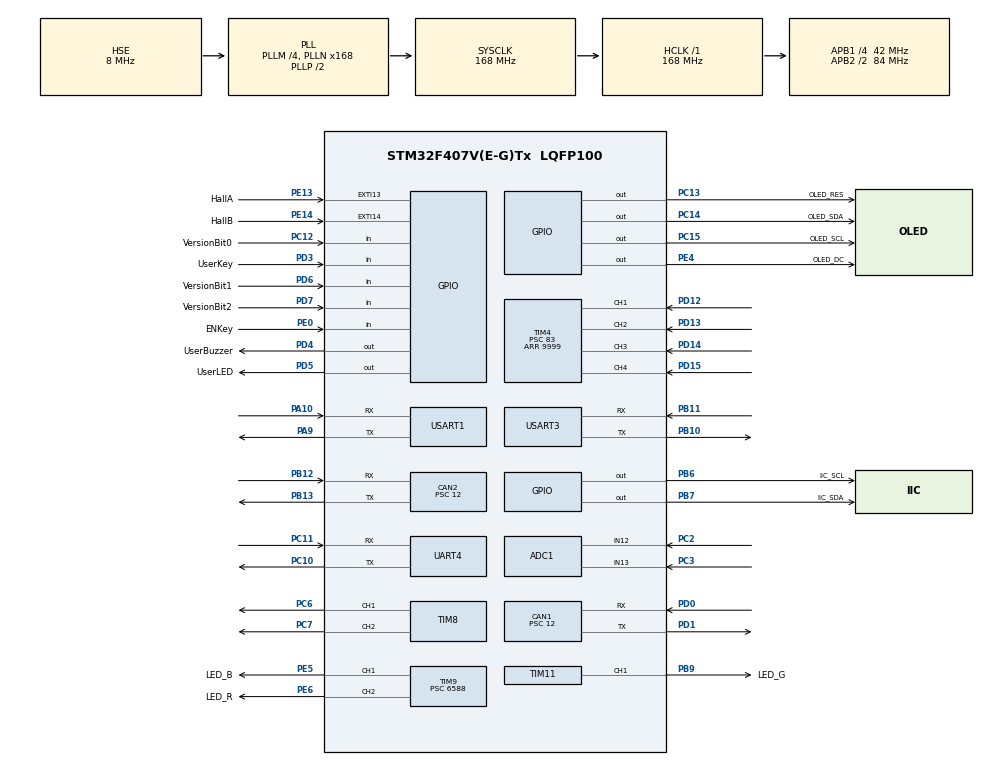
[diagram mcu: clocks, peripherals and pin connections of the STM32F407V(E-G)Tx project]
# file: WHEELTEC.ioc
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ADC1.Channel-0\#ChannelRegularConversion=ADC_CHANNEL_12
ADC1.Channel-1\#ChannelRegularConversion=ADC_CHANNEL_13
ADC1.ClockPrescaler=ADC_CLOCK_SYNC_PCLK_DIV6
ADC1.ContinuousConvMode=ENABLE
ADC1.DMAContinuousRequests=ENABLE
ADC1.NbrOfConversion=2
ADC1.NbrOfConversionFlag=1
ADC1.Rank-0\#ChannelRegularConversion=1
ADC1.Rank-1\#ChannelRegularConversion=2
ADC1.SamplingTime-0\#ChannelRegularConversion=ADC_SAMPLETIME_480CYCLES
ADC1.SamplingTime-1\#ChannelRegularConversion=ADC_SAMPLETIME_480CYCLES
ADC1.ScanConvMode=ENABLE
ADC1.master=1
CAN1.BS1=CAN_BS1_3TQ
CAN1.BS2=CAN_BS2_3TQ
CAN1.CalculateBaudRate=500000
CAN1.CalculateTimeBit=2000
CAN1.CalculateTimeQuantum=285.7142857142857
CAN1.Prescaler=12
CAN1.SJW=CAN_SJW_1TQ
CAN2.BS1=CAN_BS1_3TQ
CAN2.BS2=CAN_BS2_3TQ
CAN2.CalculateBaudRate=500000
CAN2.CalculateTimeBit=2000
CAN2.CalculateTimeQuantum=285.7142857142857
CAN2.Prescaler=12
Dma.ADC1.0.Direction=DMA_PERIPH_TO_MEMORY
Dma.ADC1.0.FIFOMode=DMA_FIFOMODE_DISABLE
Dma.ADC1.0.Instance=DMA2_Stream0
Dma.ADC1.0.MemDataAlignment=DMA_MDATAALIGN_HALFWORD
Dma.ADC1.0.MemInc=DMA_MINC_ENABLE
Dma.ADC1.0.Mode=DMA_CIRCULAR
Dma.ADC1.0.PeriphDataAlignment=DMA_PDATAALIGN_HALFWORD
Dma.ADC1.0.PeriphInc=DMA_PINC_DISABLE
Dma.ADC1.0.Priority=DMA_PRIORITY_LOW
Dma.Request0=ADC1
Dma.Request1=UART4_TX
Dma.Request2=USART1_TX
Dma.Request3=USART3_RX
Dma.UART4_TX.1.Direction=DMA_MEMORY_TO_PERIPH
Dma.UART4_TX.1.FIFOMode=DMA_FIFOMODE_DISABLE
Dma.UART4_TX.1.Instance=DMA1_Stream4
Dma.UART4_TX.1.MemDataAlignment=DMA_MDATAALIGN_BYTE
Dma.UART4_TX.1.MemInc=DMA_MINC_ENABLE
Dma.UART4_TX.1.Mode=DMA_NORMAL
Dma.UART4_TX.1.PeriphDataAlignment=DMA_PDATAALIGN_BYTE
Dma.UART4_TX.1.PeriphInc=DMA_PINC_DISABLE
Dma.UART4_TX.1.Priority=DMA_PRIORITY_LOW
Dma.USART1_TX.2.Direction=DMA_MEMORY_TO_PERIPH
Dma.USART1_TX.2.FIFOMode=DMA_FIFOMODE_DISABLE
Dma.USART1_TX.2.Instance=DMA2_Stream7
Dma.USART1_TX.2.MemDataAlignment=DMA_MDATAALIGN_BYTE
Dma.USART1_TX.2.MemInc=DMA_MINC_ENABLE
Dma.USART1_TX.2.Mode=DMA_NORMAL
Dma.USART1_TX.2.PeriphDataAlignment=DMA_PDATAALIGN_BYTE
Dma.USART1_TX.2.PeriphInc=DMA_PINC_DISABLE
Dma.USART1_TX.2.Priority=DMA_PRIORITY_LOW
Dma.USART3_RX.3.Direction=DMA_PERIPH_TO_MEMORY
Dma.USART3_RX.3.FIFOMode=DMA_FIFOMODE_DISABLE
Dma.USART3_RX.3.Instance=DMA1_Stream1
Dma.USART3_RX.3.MemDataAlignment=DMA_MDATAALIGN_BYTE
Dma.USART3_RX.3.MemInc=DMA_MINC_ENABLE
Dma.USART3_RX.3.Mode=DMA_NORMAL
Dma.USART3_RX.3.PeriphDataAlignment=DMA_PDATAALIGN_BYTE
Dma.USART3_RX.3.PeriphInc=DMA_PINC_DISABLE
Dma.USART3_RX.3.Priority=DMA_PRIORITY_LOW
FREERTOS.Tasks01=InitTask,32,128,StartInitTask,Default,NULL,Dynamic,NULL,NULL
FREERTOS.configCHECK_FOR_STACK_OVERFLOW=2
FREERTOS.configENABLE_FPU=1
FREERTOS.configGENERATE_RUN_TIME_STATS=1
FREERTOS.configTOTAL_HEAP_SIZE=51200
FREERTOS.configUSE_DAEMON_TASK_STARTUP_HOOK=0
FREERTOS.configUSE_IDLE_HOOK=1
FREERTOS.configUSE_MALLOC_FAILED_HOOK=1
FREERTOS.configUSE_STATS_FORMATTING_FUNCTIONS=1
Mcu.Family=STM32F4
Mcu.Name=STM32F407V(E-G)Tx
Mcu.Package=LQFP100
NVIC.CAN1_RX0_IRQn=true\:5\:0\:false\:false\:true\:true\:true\:true\:true
NVIC.CAN2_RX1_IRQn=true\:5\:0\:false\:false\:true\:true\:true\:true\:true
NVIC.DMA1_Stream1_IRQn=true\:5\:0\:false\:false\:true\:true\:false\:true\:true
NVIC.DMA1_Stream4_IRQn=true\:5\:0\:false\:false\:true\:true\:false\:true\:true
NVIC.DMA2_Stream0_IRQn=true\:5\:0\:false\:false\:true\:true\:false\:true\:true
NVIC.DMA2_Stream7_IRQn=true\:5\:0\:false\:false\:true\:true\:false\:true\:true
NVIC.EXTI15_10_IRQn=true\:5\:0\:false\:false\:true\:true\:true\:true\:true
NVIC.PriorityGroup=NVIC_PRIORITYGROUP_4
NVIC.TIM4_IRQn=true\:5\:0\:false\:false\:true\:true\:true\:true\:true
NVIC.TIM7_IRQn=true\:15\:0\:true\:false\:true\:false\:false\:true\:true
NVIC.TimeBase=TIM7_IRQn
NVIC.TimeBaseIP=TIM7
NVIC.UART4_IRQn=true\:5\:0\:false\:false\:true\:true\:true\:true\:true
NVIC.USART1_IRQn=true\:5\:0\:false\:false\:true\:true\:true\:true\:true
NVIC.USART3_IRQn=true\:5\:0\:false\:false\:true\:true\:true\:true\:true
PA10.Mode=Asynchronous
PA10.Signal=USART1_RX
PA13.Mode=Serial_Wire
PA13.Signal=SYS_JTMS-SWDIO
PA14.Mode=Serial_Wire
PA14.Signal=SYS_JTCK-SWCLK
PA9.Mode=Asynchronous
PA9.Signal=USART1_TX
PB10.Mode=Asynchronous
PB10.Signal=USART3_TX
PB11.Mode=Asynchronous
PB11.Signal=USART3_RX
PB12.Mode=CAN_Activate
PB12.Signal=CAN2_RX
PB13.Mode=CAN_Activate
PB13.Signal=CAN2_TX
PB6.GPIO_Label=IIC_SCL
PB6.GPIO_PuPd=GPIO_NOPULL
PB6.GPIO_Speed=GPIO_SPEED_FREQ_VERY_HIGH
PB6.PinState=GPIO_PIN_SET
PB6.Signal=GPIO_Output
PB7.GPIO_Label=IIC_SDA
PB7.GPIO_Speed=GPIO_SPEED_FREQ_VERY_HIGH
PB7.PinState=GPIO_PIN_SET
PB7.Signal=GPIO_Output
PB9.GPIO_Label=LED_G
PB9.Signal=S_TIM11_CH1
PC10.Mode=Asynchronous
PC10.Signal=UART4_TX
PC11.Mode=Asynchronous
PC11.Signal=UART4_RX
PC12.GPIO_Label=VersionBit0
PC12.GPIO_PuPd=GPIO_PULLUP
PC12.Signal=GPIO_Input
PC13-ANTI_TAMP.GPIO_Label=OLED_RES
PC13-ANTI_TAMP.Signal=GPIO_Output
PC14-OSC32_IN.GPIO_Label=OLED_SDA
PC14-OSC32_IN.Signal=GPIO_Output
PC15-OSC32_OUT.GPIO_Label=OLED_SCL
PC15-OSC32_OUT.Signal=GPIO_Output
PC2.Signal=ADCx_IN12
PC3.Signal=ADCx_IN13
PC6.Signal=S_TIM8_CH1
PC7.Signal=S_TIM8_CH2
PD0.Mode=CAN_Activate
PD0.Signal=CAN1_RX
PD1.Mode=CAN_Activate
PD1.Signal=CAN1_TX
PD12.Signal=S_TIM4_CH1
PD13.Signal=S_TIM4_CH2
PD14.Signal=S_TIM4_CH3
PD15.Signal=S_TIM4_CH4
PD3.GPIO_Label=UserKey
PD3.GPIO_PuPd=GPIO_PULLUP
PD3.Signal=GPIO_Input
PD4.GPIO_Label=UserBuzzer
PD4.PinState=GPIO_PIN_RESET
PD4.Signal=GPIO_Output
PD5.GPIO_Label=UserLED
PD5.PinState=GPIO_PIN_SET
PD5.Signal=GPIO_Output
PD6.GPIO_Label=VersionBit1
PD6.GPIO_PuPd=GPIO_PULLUP
PD6.Signal=GPIO_Input
PD7.GPIO_Label=VersionBit2
PD7.GPIO_PuPd=GPIO_PULLUP
PD7.Signal=GPIO_Input
PE0.GPIO_Label=ENKey
PE0.GPIO_Mode=GPIO_MODE_INPUT
PE0.GPIO_PuPd=GPIO_PULLUP
PE0.Signal=GPIO_Input
PE4.GPIO_Label=OLED_DC
PE4.Signal=GPIO_Output
PE5.GPIO_Label=LED_B
PE5.Signal=S_TIM9_CH1
PE6.GPIO_Label=LED_R
PE6.Signal=S_TIM9_CH2
PE13.GPIO_Label=HallA
PE13.GPIO_Mode=GPIO_MODE_IT_FALLING
PE13.GPIO_PuPd=GPIO_PULLUP
PE13.Signal=GPIO_EXTI13
PE14.GPIO_Label=HallB
PE14.GPIO_Mode=GPIO_MODE_IT_FALLING
PE14.GPIO_PuPd=GPIO_PULLUP
PE14.Signal=GPIO_EXTI14
PH0-OSC_IN.Mode=HSE-External-Oscillator
PH0-OSC_IN.Signal=RCC_OSC_IN
PH1-OSC_OUT.Mode=HSE-External-Oscillator
PH1-OSC_OUT.Signal=RCC_OSC_OUT
ProjectManager.HeapSize=0x200
ProjectManager.StackSize=0x400
ProjectManager.TargetToolchain=MDK-ARM V5.32
RCC.48MHZClocksFreq_Value=48000000
RCC.AHBFreq_Value=168000000
RCC.APB1CLKDivider=RCC_HCLK_DIV4
RCC.APB1Freq_Value=42000000
RCC.APB1TimFreq_Value=84000000
RCC.APB2CLKDivider=RCC_HCLK_DIV2
RCC.APB2Freq_Value=84000000
RCC.APB2TimFreq_Value=168000000
RCC.CortexFreq_Value=168000000
RCC.HCLKFreq_Value=168000000
RCC.HSE_VALUE=8000000
RCC.HSI_VALUE=16000000
RCC.LSE_VALUE=32768
RCC.PLLM=4
RCC.PLLN=168
RCC.PLLQ=7
RCC.SYSCLKFreq_VALUE=168000000
RCC.SYSCLKSource=RCC_SYSCLKSOURCE_PLLCLK
RCC.VCOOutputFreq_Value=336000000
SH.ADCx_IN12.0=ADC1_IN12,IN12
SH.ADCx_IN13.0=ADC1_IN13,IN13
SH.S_TIM11_CH1.0=TIM11_CH1,PWM Generation1 CH1
SH.S_TIM4_CH1.0=TIM4_CH1,Input_Capture1_from_TI1
SH.S_TIM4_CH2.0=TIM4_CH2,Input_Capture2_from_TI2
SH.S_TIM4_CH3.0=TIM4_CH3,Input_Capture3_from_TI3
SH.S_TIM4_CH4.0=TIM4_CH4,Input_Capture4_from_TI4
SH.S_TIM8_CH1.0=TIM8_CH1,PWM Generation1 CH1
SH.S_TIM8_CH2.0=TIM8_CH2,PWM Generation2 CH2
SH.S_TIM9_CH1.0=TIM9_CH1,PWM Generation1 CH1
SH.S_TIM9_CH2.0=TIM9_CH2,PWM Generation2 CH2
TIM11.Channel=TIM_CHANNEL_1
TIM11.Period=254
TIM11.Prescaler=6588
TIM4.Channel-Input_Capture1_from_TI1=TIM_CHANNEL_1
TIM4.Channel-Input_Capture2_from_TI2=TIM_CHANNEL_2
TIM4.Channel-Input_Capture3_from_TI3=TIM_CHANNEL_3
TIM4.Channel-Input_Capture4_from_TI4=TIM_CHANNEL_4
TIM4.Period=9999
TIM4.Prescaler=83
TIM6.Prescaler=839
TIM8.Channel-PWM\ Generation1\ CH1=TIM_CHANNEL_1
TIM8.Channel-PWM\ Generation2\ CH2=TIM_CHANNEL_2
TIM9.Channel-PWM\ Generation1\ CH1=TIM_CHANNEL_1
TIM9.Channel-PWM\ Generation2\ CH2=TIM_CHANNEL_2
TIM9.Period=254
TIM9.Prescaler=6588
UART4.VirtualMode=Asynchronous
USART1.VirtualMode=VM_ASYNC
USART3.VirtualMode=VM_ASYNC
VP_FREERTOS_VS_CMSIS_V2.Mode=CMSIS_V2
VP_SYS_VS_tim7.Mode=TIM7
VP_TIM11_VS_ClockSourceINT.Mode=Enable_Timer
VP_TIM4_VS_ClockSourceINT.Mode=Internal
VP_TIM6_VS_ClockSourceINT.Mode=Enable_Timer
VP_TIM8_VS_ClockSourceINT.Mode=Internal
VP_TIM9_VS_ClockSourceINT.Mode=Internal
board=custom

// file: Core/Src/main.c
/* USER CODE BEGIN Header */
/**
  ******************************************************************************
  * @file           : main.c
  * @brief          : Main program body
  ******************************************************************************
  * @attention
  *
  * Copyright (c) 2025 STMicroelectronics.
  * All rights reserved.
  *
  * This software is licensed under terms that can be found in the LICENSE file
  * in the root directory of this software component.
  * If no LICENSE file comes with this software, it is provided AS-IS.
  *
  ******************************************************************************
  */
/* USER CODE END Header */
#include "main.h"
#include "cmsis_os.h"
#include "adc.h"
#include "can.h"
#include "dma.h"
#include "tim.h"
#include "usart.h"
#include "gpio.h"

/* USER CODE BEGIN Includes */
#include <stdio.h>

//bsp
#include "bsp_oled.h"
#include "bsp_dwt.h"
#include "bsp_can.h"
#include "bsp_adc.h"
#include "bsp_flash.h"

#include "hall_speed.h"
#include "servo_basic_control.h"
#include "robot_select_init.h"

/* USER CODE END Includes */

/* USER CODE BEGIN PV */

static uint8_t HardWareVersion = HW_UnKnown; //绯荤粺纭欢鐗堟湰

uint8_t rosbuffer = 0;      //ROS涓插彛鎺ユ敹缂撳啿鍖?
uint8_t usart1_buffer = 0;  //涓插彛1鎺ユ敹缂撳啿鍖?
uint8_t rs485_buffer = 0;   //485鎺ユ敹缂撳啿鍖?

DebugType_t g_sys_debug = { 0 }; //鍏ㄥ眬璋冭瘯鍙橀噺
/* USER CODE END PV */

void SystemClock_Config(void);
void MX_FREERTOS_Init(void);

int main(void)
{

  /* MCU Configuration--------------------------------------------------------*/

  /* Reset of all peripherals, Initializes the Flash interface and the Systick. */
  HAL_Init();

  /* Configure the system clock */
  SystemClock_Config();

  /* Initialize all configured peripherals */
  MX_GPIO_Init();
  MX_DMA_Init();
  MX_USART1_UART_Init();
  MX_USART3_UART_Init();
  MX_UART4_Init();
  MX_TIM4_Init();
  MX_TIM6_Init();
  MX_TIM9_Init();
  MX_TIM11_Init();
  MX_ADC1_Init();
  MX_CAN1_Init();
  MX_CAN2_Init();
  MX_TIM8_Init();
  /* USER CODE BEGIN 2 */

  /* Initialize Ackermann servo/ESC control state */
  ServoBasic_Init();

		//DWT瀹氭椂鍣ㄥ垵濮嬪寲,鐢ㄤ簬瀹炵幇ms銆乽s寤舵椂鍑芥暟
		DWT_Init();

		//鍒濆鍖栭湇灏旒疆閫熺姸鎬侊紝璇ュ姛鑳藉湪 PE13/PE14 EXTI 杈撳叆涓婂伐浣?
		HallSpeed_Init();

		//ADC鐢ㄦ埛閰嶇疆鍒濆鍖?
		ADC_Userconfig_Init();

	//鍚姩FreeRTOS绯荤粺璋冭瘯瀹氭椂鍣?
	HAL_TIM_Base_Start(&htim6);

	//OLED灞忓箷鍒濆鍖?
	pOLEDInterface_t oled = &UserOLED;
	oled->init();

	//C63X纭欢鐗堟湰纭畾(閫氳繃鐗堟湰io鍙?纭纭欢鐗堟湰)
	uint8_t Version = 0;
	Version |= (HAL_GPIO_ReadPin(VersionBit2_GPIO_Port,VersionBit2_Pin))<<2;
	Version |= (HAL_GPIO_ReadPin(VersionBit1_GPIO_Port,VersionBit1_Pin))<<1;
	Version |= (HAL_GPIO_ReadPin(VersionBit0_GPIO_Port,VersionBit0_Pin))<<0;

	if( Version == 0 )
	{
		HardWareVersion = HW_1_1;
	}
	else if( Version == 7)
	{
		HardWareVersion = HW_1_0;

		//鍙嶅垵濮嬪寲V2.0鐗堟湰鐨凜AN寮曡剼
		HAL_GPIO_DeInit(GPIOD, GPIO_PIN_0|GPIO_PIN_1);

		//鍒濆鍖朧1.0鐗堟湰CAN寮曡剼
		GPIO_InitTypeDef GPIO_InitStruct = {0};
		__HAL_RCC_GPIOA_CLK_ENABLE();
		GPIO_InitStruct.Pin = GPIO_PIN_11|GPIO_PIN_12;
		GPIO_InitStruct.Mode = GPIO_MODE_AF_PP;
		GPIO_InitStruct.Pull = GPIO_NOPULL;
		GPIO_InitStruct.Speed = GPIO_SPEED_FREQ_VERY_HIGH;
		GPIO_InitStruct.Alternate = GPIO_AF9_CAN1;
		HAL_GPIO_Init(GPIOA, &GPIO_InitStruct);

		//V1.0鐗堟湰鎬ュ仠寮€鍏?
		HAL_GPIO_DeInit(ENKey_GPIO_Port,ENKey_Pin);
		__HAL_RCC_GPIOD_CLK_ENABLE();
		GPIO_InitStruct.Pin = ENKey_V1_0_Pin;
		GPIO_InitStruct.Mode = GPIO_MODE_INPUT;
		GPIO_InitStruct.Pull = GPIO_PULLUP;
		HAL_GPIO_Init(ENKey_V1_0_GPIO_Port, &GPIO_InitStruct);

		//V1.0鐗堟湰鎸夐敭
		HAL_GPIO_DeInit(UserKey_V1_0_Port,UserKey_V1_0_Pin);
		HAL_GPIO_DeInit(UserKey_GPIO_Port,UserKey_Pin);
		__HAL_RCC_GPIOD_CLK_ENABLE();
		GPIO_InitStruct.Pin = UserKey_V1_0_Pin;
		GPIO_InitStruct.Mode = GPIO_MODE_INPUT;
		GPIO_InitStruct.Pull = GPIO_PULLUP;
		HAL_GPIO_Init(UserKey_V1_0_Port, &GPIO_InitStruct);
	}
	else
	{
		oled->ShowString(0,0,"unknown hardware-version.");
		oled->ShowString(0,35,"please reset and-retry.");
		oled->RefreshGram();
		while(1)
		{
			HAL_GPIO_TogglePin(UserBuzzer_GPIO_Port,UserBuzzer_Pin);
			HAL_Delay(500);
		}
	}

	//寮€鍚埅妯￠仴鎺х浉鍏冲畾鏃跺櫒鎹曡幏鍔熻兘
	HAL_TIM_IC_Start_IT(&htim4,TIM_CHANNEL_1);
	HAL_TIM_IC_Start_IT(&htim4,TIM_CHANNEL_2);
	HAL_TIM_IC_Start_IT(&htim4,TIM_CHANNEL_3);

	//鍚姩涓插彛鎺ユ敹涓柇
	HAL_UART_Receive_IT(&huart4,&rosbuffer,1);
	HAL_UART_Receive_IT(&huart1,&usart1_buffer,1);
	HAL_UART_Receive_IT(&huart3,&rs485_buffer,1);

	//485鎺ュ彛娴嬭瘯浣跨敤
//	uint8_t _485debug[] = {"hello c63x! RS485 Test Info"};
//	HAL_UART_Transmit(&huart3,_485debug,sizeof(_485debug)/sizeof(_485debug[0]),500);

	//閫氳繃鐢典綅鍣ㄧ‘璁よ溅鍨?
	HAL_Delay(500);
	Robot_Select();

	//璇诲彇鐢ㄦ埛淇濆瓨鐨勯粯璁ら€熷害鍊?
	uint32_t flashdata[2];
	User_Flash_ReadParam((uint32_t *)flashdata,2);

	//灏忚溅榛樿閬ユ帶閫熷害鍊?
	if( flashdata[0]!=0xFFFFFFFF )
	{
		if( flashdata[0]<=3500 )
			RobotControlParam.defalutSpeed = flashdata[0];
	}

	//绾犲亸绯绘暟鍊?
	if( flashdata[1]!=0xFFFFFFFF )
	{
		if( flashdata[1]<=100 )
			RobotControlParam.LineDiffParam = flashdata[1];
	}

  /* USER CODE END 2 */

  /* Init scheduler */
  osKernelInitialize();  /* Call init function for freertos objects (in cmsis_os2.c) */
  MX_FREERTOS_Init();

  /* Start scheduler */
  osKernelStart();

  /* We should never get here as control is now taken by the scheduler */

  /* Infinite loop */
  while (1)
  {

  }
}

void SystemClock_Config(void)
{
  RCC_OscInitTypeDef RCC_OscInitStruct = {0};
  RCC_ClkInitTypeDef RCC_ClkInitStruct = {0};

  /** Configure the main internal regulator output voltage
  */
  __HAL_RCC_PWR_CLK_ENABLE();
  __HAL_PWR_VOLTAGESCALING_CONFIG(PWR_REGULATOR_VOLTAGE_SCALE1);

  /** Initializes the RCC Oscillators according to the specified parameters
  * in the RCC_OscInitTypeDef structure.
  */
  RCC_OscInitStruct.OscillatorType = RCC_OSCILLATORTYPE_HSE;
  RCC_OscInitStruct.HSEState = RCC_HSE_ON;
  RCC_OscInitStruct.PLL.PLLState = RCC_PLL_ON;
  RCC_OscInitStruct.PLL.PLLSource = RCC_PLLSOURCE_HSE;
  RCC_OscInitStruct.PLL.PLLM = 4;
  RCC_OscInitStruct.PLL.PLLN = 168;
  RCC_OscInitStruct.PLL.PLLP = RCC_PLLP_DIV2;
  RCC_OscInitStruct.PLL.PLLQ = 7;
  if (HAL_RCC_OscConfig(&RCC_OscInitStruct) != HAL_OK)
  {
    Error_Handler();
  }

  /** Initializes the CPU, AHB and APB buses clocks
  */
  RCC_ClkInitStruct.ClockType = RCC_CLOCKTYPE_HCLK|RCC_CLOCKTYPE_SYSCLK
                              |RCC_CLOCKTYPE_PCLK1|RCC_CLOCKTYPE_PCLK2;
  RCC_ClkInitStruct.SYSCLKSource = RCC_SYSCLKSOURCE_PLLCLK;
  RCC_ClkInitStruct.AHBCLKDivider = RCC_SYSCLK_DIV1;
  RCC_ClkInitStruct.APB1CLKDivider = RCC_HCLK_DIV4;
  RCC_ClkInitStruct.APB2CLKDivider = RCC_HCLK_DIV2;

  if (HAL_RCC_ClockConfig(&RCC_ClkInitStruct, FLASH_LATENCY_5) != HAL_OK)
  {
    Error_Handler();
  }
}

/* USER CODE BEGIN 4 */

UART_HandleTypeDef *DebugSerial = &huart1;

//printf鍑芥暟瀹炵幇
int fputc(int ch,FILE* stream)
{
	while( HAL_OK != HAL_UART_Transmit(DebugSerial,(const uint8_t *)&ch,1,100));
	return ch;
}

//鑾峰彇纭欢鐗堟湰
uint8_t get_HardWareVersion(void)
{
	return HardWareVersion;
}

//鑾峰彇鎬ュ仠寮€鍏崇姸鎬?涓庣増鏈浉鍏?
GPIO_PinState get_EnKeyState(void)
{
	if( HardWareVersion == HW_1_0 )
	{
		return HAL_GPIO_ReadPin(ENKey_V1_0_GPIO_Port,ENKey_V1_0_Pin);
	}
	else if( HardWareVersion == HW_1_1 )
	{
		return HAL_GPIO_ReadPin(ENKey_GPIO_Port,ENKey_Pin);
	}

	return GPIO_PIN_RESET;
}

/* USER CODE END 4 */

void HAL_TIM_PeriodElapsedCallback(TIM_HandleTypeDef *htim)
{
  if (htim->Instance == TIM7)
  {
    HAL_IncTick();
  }
}

void Error_Handler(void)
{
  __disable_irq();
  while (1)
  {
  }
}

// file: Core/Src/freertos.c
/* USER CODE BEGIN Header */
/**
  ******************************************************************************
  * File Name          : freertos.c
  * Description        : Minimal FreeRTOS application set for Ackermann-only control.
  ******************************************************************************
  */
/* USER CODE END Header */

#include "FreeRTOS.h"
#include "task.h"
#include "main.h"
#include "cmsis_os.h"

#include <stdio.h>

#include "queue.h"
#include "bsp_oled.h"
#include "bsp_RTOSdebug.h"
#include "bsp_RGBLight.h"
#include "bsp_buzzer.h"
#include "robot_select_init.h"
#include "servo_basic_task.h"

QueueHandle_t g_xQueueCANopenCallback = NULL;
QueueHandle_t g_xQueueROSserial = NULL;
QueueHandle_t g_xQueueHeartBeatMsg = NULL;
TaskHandle_t g_servoTaskHandle = NULL;

osThreadId_t InitTaskHandle;
const osThreadAttr_t InitTask_attributes = {
  .name = "InitTask",
  .stack_size = 128 * 4,
  .priority = (osPriority_t) osPriorityAboveNormal,
};

void show_task(void* param);
void ImuTask(void* param);
void SerialControlTask(void* param);
void RobotDataTransmitTask(void* param);
void RGBControl_task(void* param);

void StartInitTask(void *argument);

void MX_FREERTOS_Init(void);

__weak void configureTimerForRunTimeStats(void)
{
    TIM6->CNT = 0;
}

__weak unsigned long getRunTimeCounterValue(void)
{
    static unsigned long time = 0;
    static uint16_t lasttime = 0;
    uint16_t nowtime = TIM6->CNT;

    if (nowtime < lasttime)
    {
        time += (unsigned long)(nowtime + 0xFFFFU - lasttime);
    }
    else
    {
        time += (unsigned long)(nowtime - lasttime);
    }

    lasttime = nowtime;
    return time;
}

void vApplicationIdleHook(void)
{
}

void vApplicationStackOverflowHook(xTaskHandle xTask, signed char *pcTaskName)
{
    printf("%s stack overflow\r\n", pcTaskName);
    (void)xTask;
}

void vApplicationMallocFailedHook(void)
{
    printf("malloc failed.check heapsize\r\n");
}

void MX_FREERTOS_Init(void)
{
    BaseType_t ret;

    g_xQueueROSserial = xQueueCreate(50, sizeof(char));

    InitTaskHandle = osThreadNew(StartInitTask, NULL, &InitTask_attributes);

    ret = xTaskCreate(ServoBasic_Task, "ServoTask", 128 * 2, NULL, osPriorityHigh, &g_servoTaskHandle);
    if (ret != pdPASS)
    {
        Error_Handler();
    }

    ret = xTaskCreate(show_task, "showTask", 128 * 4, NULL, osPriorityBelowNormal7, NULL);
    if (ret != pdPASS)
    {
        Error_Handler();
    }

    ret = xTaskCreate(ImuTask, "ImuTask", 128 * 4, NULL, osPriorityNormal, NULL);
    if (ret != pdPASS)
    {
        Error_Handler();
    }

    ret = xTaskCreate(SerialControlTask, "SerialConTask", 128 * 2, NULL, osPriorityNormal, NULL);
    if (ret != pdPASS)
    {
        Error_Handler();
    }

    ret = xTaskCreate(RobotDataTransmitTask, "transmit_task", 128 * 4, NULL, osPriorityNormal, NULL);
    if (ret != pdPASS)
    {
        Error_Handler();
    }

    ret = xTaskCreate(RGBControl_task, "RGB_task", 128 * 2, NULL, osPriorityBelowNormal7, NULL);
    if (ret != pdPASS)
    {
        Error_Handler();
    }
}

void StartInitTask(void *argument)
{
    (void)argument;

    pBuzzerInterface_t tips = &UserBuzzer;
    tips->AddTask(1, 700);

    vTaskDelete(NULL);
}
